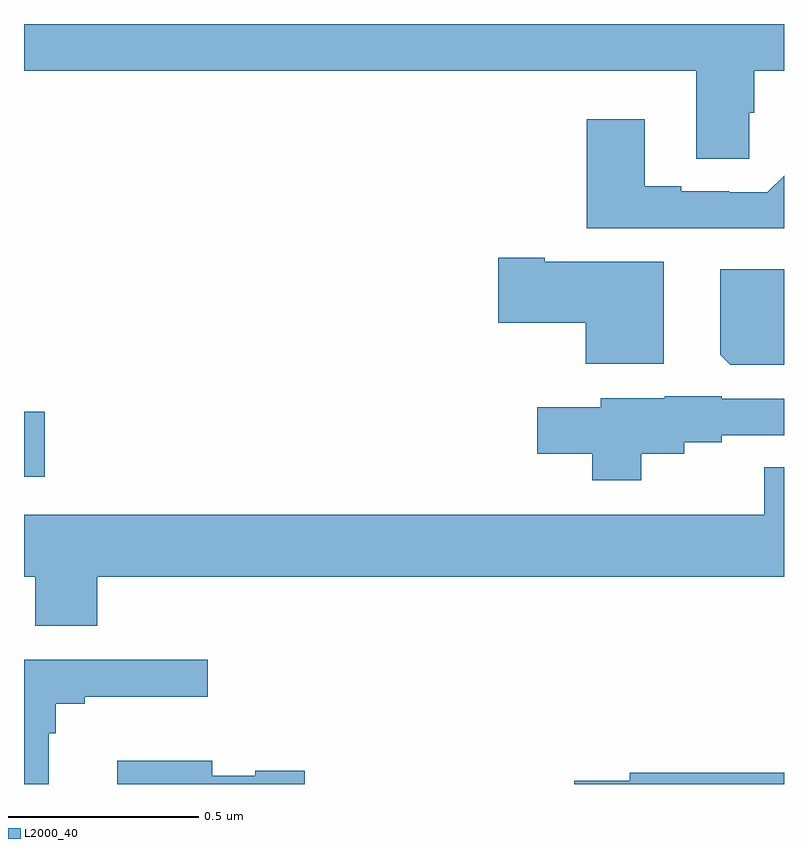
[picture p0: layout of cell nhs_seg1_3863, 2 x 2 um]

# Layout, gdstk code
import gdstk
lib = gdstk.Library(unit=1e-6, precision=1e-09)
def R(c, l, rs):  # rectangles x0, y0, x1, y1
    for r in rs: c.add(gdstk.rectangle(r[:2], r[2:], *l))
def P(c, l, *ps):  # polygons
    for p in ps: c.add(gdstk.Polygon(p, *l))
L2000_40 = (2000, 40)

nhs_seg1_3863 = lib.new_cell('nhs_seg1_3863')
R(nhs_seg1_3863, L2000_40, [(159,540.008,159.055,540.179)])
P(nhs_seg1_3863, L2000_40, [(160.908,540.966),(160.922,540.966),(160.922,541.076),(161,541.076),(161,541.199),(159,541.199),(159,541.076),(160.769,541.076),(160.769,540.844),(160.908,540.844)],
  [(161,540.8),(160.956,540.756),(160.856,540.756),(160.856,540.759),(160.729,540.759),(160.729,540.772),(160.633,540.772),(160.633,540.949),(160.481,540.949),(160.481,540.662),(161,540.662)],
  [(160.684,540.574),(160.371,540.574),(160.371,540.584),(160.248,540.584),(160.248,540.413),(160.478,540.413),(160.478,540.305),(160.684,540.305)],
  [(161,540.553),(160.832,540.553),(160.832,540.328),(160.858,540.302),(161,540.302)],
  [(160.624,540.068),(160.738,540.068),(160.738,540.098),(160.836,540.098),(160.836,540.117),(161,540.117),(161,540.213),(160.836,540.213),(160.836,540.22),(160.686,540.22),(160.686,540.214),(160.518,540.214),(160.518,540.19),(160.35,540.19),(160.35,540.068),(160.495,540.068),(160.495,539.999),(160.624,539.999)],
  [(159.193,539.744),(161,539.744),(161,540.032),(160.948,540.032),(160.948,539.908),(159,539.908),(159,539.744),(159.029,539.744),(159.029,539.616),(159.193,539.616)],
  [(159.065,539.333),(159.083,539.333),(159.083,539.41),(159.16,539.41),(159.16,539.429),(159.484,539.429),(159.484,539.526),(159,539.526),(159,539.199),(159.065,539.199)],
  [(159.739,539.234),(159.609,539.234),(159.609,539.221),(159.496,539.221),(159.496,539.26),(159.245,539.26),(159.245,539.199),(159.739,539.199)],
  [(161,539.228),(160.594,539.228),(160.594,539.208),(160.448,539.208),(160.448,539.199),(161,539.199)])

lib.write_gds('nhs_seg1_3863.gds')
